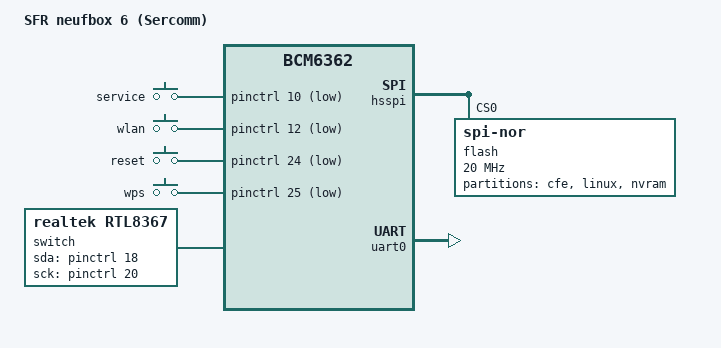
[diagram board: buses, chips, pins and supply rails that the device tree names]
/dts-v1/;

#include "bcm6362.dtsi"

#include <dt-bindings/input/input.h>

/ {
	model = "SFR neufbox 6 (Sercomm)";
	compatible = "sfr,nb6-ser-r0", "brcm,bcm6362";

	chosen {
		bootargs = "rootfstype=squashfs,jffs2 noinitrd console=ttyS0,115200";
		stdout-path = "serial0:115200n8";
	};

	keys {
		compatible = "gpio-keys-polled";
		#address-cells = <1>;
		#size-cells = <0>;
		poll-interval = <20>;

		service {
			label = "service";
			gpios = <&pinctrl 10 1>;
			linux,code = <BTN_0>;
			debounce-interval = <60>;
		};

		wlan {
			label = "wlan";
			gpios = <&pinctrl 12 1>;
			linux,code = <KEY_WLAN>;
			debounce-interval = <60>;
		};

		reset {
			label = "reset";
			gpios = <&pinctrl 24 1>;
			linux,code = <KEY_RESTART>;
			debounce-interval = <60>;
		};

		wps {
			label = "wps";
			gpios = <&pinctrl 25 1>;
			linux,code = <KEY_WPS_BUTTON>;
			debounce-interval = <60>;
		};
	};

	switch {
		compatible = "realtek,rtl8367";
		gpio-sda = <&pinctrl 18 0>;
		gpio-sck = <&pinctrl 20 0>;

		realtek,extif0 = <1 5 1 1 1 1 1 1 2>;
	};
};

&hsspi {
	status = "ok";

	flash@0 {
		compatible = "jedec,spi-nor";
		spi-max-frequency = <20000000>;
		spi-tx-bus-width = <2>;
		spi-rx-bus-width = <2>;
		reg = <0>;

		#address-cells = <1>;
		#size-cells = <1>;

		partitions {
			compatible = "fixed-partitions";
			#address-cells = <1>;
			#size-cells = <1>;

			cfe@0 {
				reg = <0x000000 0x010000>;
				label = "cfe";
				read-only;
			};

			linux@10000 {
				reg = <0x010000 0xfe0000>;
				label = "linux";
				compatible = "brcm,bcm963xx-imagetag";
			};

			nvram@ff0000 {
				reg = <0xff0000 0x010000>;
				label = "nvram";
			};
		};
	};
};

&uart0 {
	status = "ok";
};
